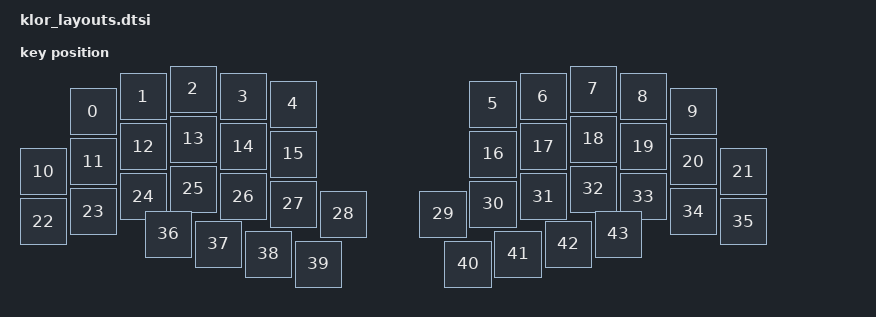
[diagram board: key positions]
/*
 * Copyright (c) 2022 The ZMK Contributors
 *
 * SPDX-License-Identifier: MIT
 */

#include <physical_layouts.dtsi>

/ {
    klor_physical_layout: klor_physical_layout {
        compatible = "zmk,physical-layout";
        display-name = "KLOR";
        transform = <&default_transform>;
        keys
            // Row 0 Left (5 keys)
            = <&key_physical_attrs 100 100 100 45 0 0 0>
            , <&key_physical_attrs 100 100 200 15 0 0 0>
            , <&key_physical_attrs 100 100 300 0 0 0 0>
            , <&key_physical_attrs 100 100 400 15 0 0 0>
            , <&key_physical_attrs 100 100 500 30 0 0 0>
            // Row 0 Right (5 keys)
            , <&key_physical_attrs 100 100 900 30 0 0 0>
            , <&key_physical_attrs 100 100 1000 15 0 0 0>
            , <&key_physical_attrs 100 100 1100 0 0 0 0>
            , <&key_physical_attrs 100 100 1200 15 0 0 0>
            , <&key_physical_attrs 100 100 1300 45 0 0 0>
            
            // Row 1 Left (6 keys)
            , <&key_physical_attrs 100 100 0 165 0 0 0>
            , <&key_physical_attrs 100 100 100 145 0 0 0>
            , <&key_physical_attrs 100 100 200 115 0 0 0>
            , <&key_physical_attrs 100 100 300 100 0 0 0>
            , <&key_physical_attrs 100 100 400 115 0 0 0>
            , <&key_physical_attrs 100 100 500 130 0 0 0>
            // Row 1 Right (6 keys)
            , <&key_physical_attrs 100 100 900 130 0 0 0>
            , <&key_physical_attrs 100 100 1000 115 0 0 0>
            , <&key_physical_attrs 100 100 1100 100 0 0 0>
            , <&key_physical_attrs 100 100 1200 115 0 0 0>
            , <&key_physical_attrs 100 100 1300 145 0 0 0>
            , <&key_physical_attrs 100 100 1400 165 0 0 0>

            // Row 2 Left (7 keys)
            , <&key_physical_attrs 100 100 0 265 0 0 0>
            , <&key_physical_attrs 100 100 100 245 0 0 0>
            , <&key_physical_attrs 100 100 200 215 0 0 0>
            , <&key_physical_attrs 100 100 300 200 0 0 0>
            , <&key_physical_attrs 100 100 400 215 0 0 0>
            , <&key_physical_attrs 100 100 500 230 0 0 0>
            , <&key_physical_attrs 100 100 600 250 0 0 0>
            // Row 2 Right (7 keys)
            , <&key_physical_attrs 100 100 800 250 0 0 0>
            , <&key_physical_attrs 100 100 900 230 0 0 0>
            , <&key_physical_attrs 100 100 1000 215 0 0 0>
            , <&key_physical_attrs 100 100 1100 200 0 0 0>
            , <&key_physical_attrs 100 100 1200 215 0 0 0>
            , <&key_physical_attrs 100 100 1300 245 0 0 0>
            , <&key_physical_attrs 100 100 1400 265 0 0 0>

            // Row 3 Left Thumbs (4 keys)
            , <&key_physical_attrs 100 100 250 290 0 0 0>
            , <&key_physical_attrs 100 100 350 310 0 0 0>
            , <&key_physical_attrs 100 100 450 330 0 0 0>
            , <&key_physical_attrs 100 100 550 350 0 0 0>
            // Row 3 Right Thumbs (4 keys)
            , <&key_physical_attrs 100 100 850 350 0 0 0>
            , <&key_physical_attrs 100 100 950 330 0 0 0>
            , <&key_physical_attrs 100 100 1050 310 0 0 0>
            , <&key_physical_attrs 100 100 1150 290 0 0 0>
            ;
    };
};
